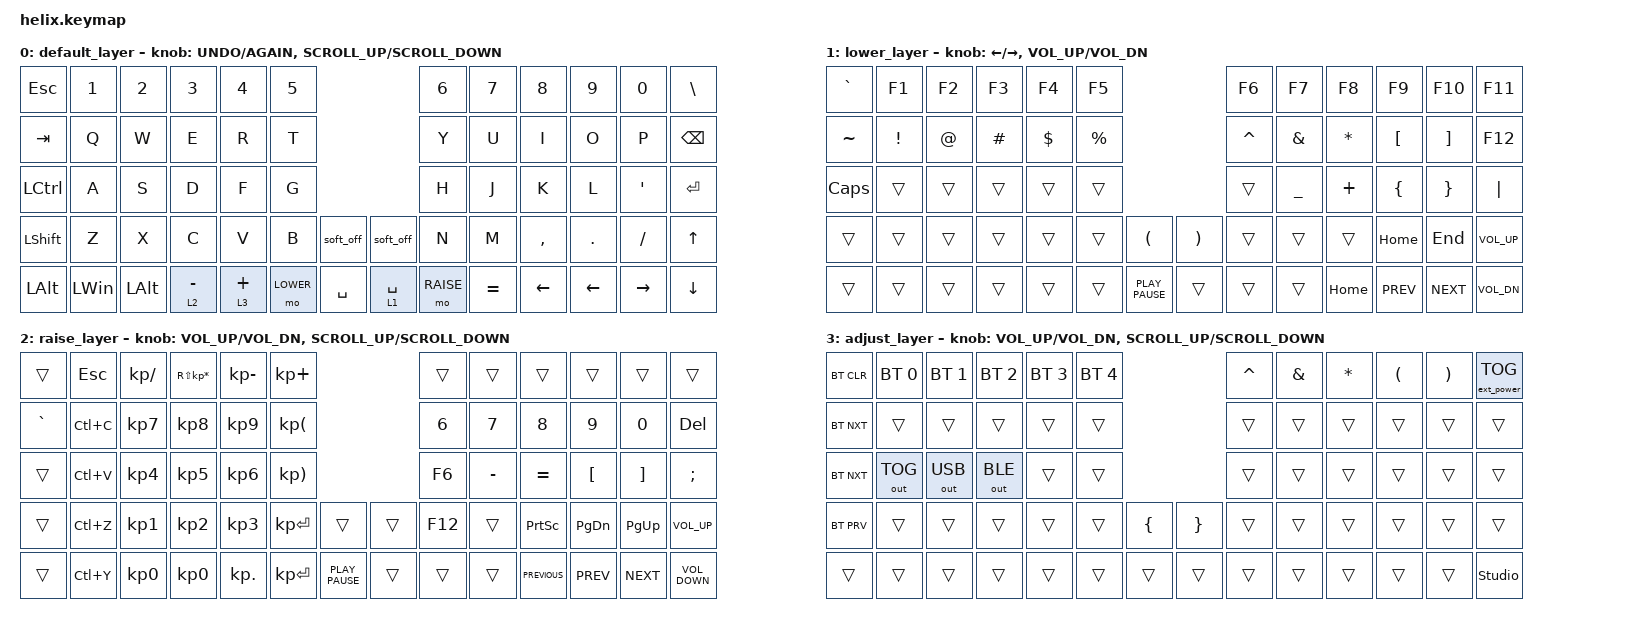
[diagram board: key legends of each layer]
/*
 * Copyright (c) 2020 The ZMK Contributors
 *
 * SPDX-License-Identifier: MIT
 */

#include <behaviors.dtsi>
#include <dt-bindings/zmk/bt.h>
#include <dt-bindings/zmk/ext_power.h>
#include <dt-bindings/zmk/keys.h>
#include <dt-bindings/zmk/outputs.h>
#include <dt-bindings/zmk/pointing.h>

#define DEFAULT 0
#define LOWER  1
#define RAISE  2
#define ADJUST 3

/{
    keymap {
        compatible = "zmk,keymap";

        default_layer {
            // ---------------------------------------------------------------------------------------------------------------------------------
            // | GRAVE  |   1    |   2    |   3    |   4    |   5    |                                      |   6    |   7    |   8    |   9    |   0    |  DEL   |
            // |  TAB   |   Q    |   W    |   E    |   R    |   T    |                                      |   Y    |   U    |   I    |   O    |   P    |  BSPC  |
            // |  CTRL  |   A    |   S    |   D    |   F    |   G    |                                      |   H    |   J    |   K    |   L    |   ;    |   '    |
            // |  SHIFT |   Z    |   X    |   C    |   V    |   B    |  LBKT  |                    |  RBKT  |   N    |   M    |   ,    |   .    |   /    |  RET   |
            // | ADJUST |  ESC   |  ALT   |  LGUI  | EISUU  | LOWER  | SPACE  |                    |  SPACE | RAISE  |  KANA  |  LEFT  |  DOWN  |  UP    |  RIGHT |

            bindings = <
&kp ESCAPE    &kp N1        &kp N2    &kp N3       &kp N4      &kp N5                               &kp N6     &kp N7     &kp N8     &kp N9      &kp N0     &kp BACKSLASH
&kp TAB       &kp Q         &kp W     &kp E        &kp R       &kp T                                &kp Y      &kp U      &kp I      &kp O       &kp P      &kp BSPC
&kp LCTRL     &kp A         &kp S     &kp D        &kp F       &kp G                                &kp H      &kp J      &kp K      &kp L       &kp SQT    &kp ENTER
&kp LSHFT     &kp Z         &kp X     &kp C        &kp V       &kp B      &soft_off    &soft_off    &kp N      &kp M      &kp COMMA  &kp PERIOD  &kp SLASH  &kp UP_ARROW
&kp LEFT_ALT  &kp LEFT_WIN  &kp LALT  &lt 2 MINUS  &lt 3 PLUS  &mo LOWER  &kp SPACE    &lt 1 SPACE  &mo RAISE  &kp EQUAL  &kp LEFT   &kp LEFT    &kp RIGHT  &kp DOWN
            >;
            sensor-bindings = <&inc_dec_kp K_UNDO K_AGAIN &inc_dec_kp K_SCROLL_UP K_SCROLL_DOWN>;
        };
        lower_layer {
            // ---------------------------------------------------------------------------------------------------------------------------------
            // |      |      |      |      |      |      |                                  |      |      |      |      |      |      |
            // |  ~   |  !   |  @   |  #   |  $   |  %   |                                  |  ^   |  &   |  *   |  (   |  )   |      |
            // |      |      |      |      |      |      |                                  |      |  _   |  +   |  {   |  }   | PIPE |
            // |      |      |      |      |      |      |  (   |                    |  )   |      |      |      | HOME | END  |      |
            // |      |      |      |      |      |      |      |                    |      |      |      |      |      |      |      |

            bindings = <
&kp GRAVE     &kp F1    &kp F2  &kp F3    &kp F4    &kp F5                                   &kp F6     &kp F7     &kp F8     &kp F9            &kp F10            &kp F11
&kp TILDE     &kp EXCL  &kp AT  &kp HASH  &kp DLLR  &kp PRCNT                                &kp CARET  &kp AMPS   &kp ASTRK  &kp LEFT_BRACKET  &kp RIGHT_BRACKET  &kp F12
&kp CAPSLOCK  &trans    &trans  &trans    &trans    &trans                                   &trans     &kp UNDER  &kp PLUS   &kp LBRC          &kp RBRC           &kp PIPE
&trans        &trans    &trans  &trans    &trans    &trans     &kp LPAR            &kp RPAR  &trans     &trans     &trans     &kp HOME          &kp END            &kp C_VOLUME_UP
&trans        &trans    &trans  &trans    &trans    &trans     &kp K_PLAY_PAUSE    &trans    &trans     &trans     &kp HOME   &kp C_PREV        &kp C_NEXT         &kp C_VOL_DN
            >;
            sensor-bindings = <&inc_dec_kp LEFT RIGHT &inc_dec_kp C_VOL_UP C_VOL_DN>;
        };

        raise_layer {
            // ---------------------------------------------------------------------------------------------------------------------------------
            // |       |       |       |       |       |       |                                    |       |       |       |       |       |       |
            // |   `   |   1   |   2   |   3   |   4   |   5   |                                    |   6   |   7   |   8   |   9   |   0   |  DEL  |
            // |       |  F1   |  F2   |  F3   |  F4   |  F5   |                                    |  F6   |   -   |   =   |   [   |   ]   |   \   |
            // |       |  F7   |  F8   |  F9   |  F10  |  F11  |       |                    |       |  F12  |       | PSCRN | PG_DN | PG_UP |       |
            // |       |       |       |       |       |       |       |                    |       |       |       | NEXT  | VOL-  | VOL+  | PLAY  |

            bindings = <
&trans     &kp ESC    &kp KP_SLASH     &kp RS(KP_MULTIPLY)  &kp KP_MINUS     &kp KP_PLUS                                           &trans   &trans     &trans          &trans      &trans      &trans
&kp GRAVE  &kp LC(C)  &kp KP_NUMBER_7  &kp KP_NUMBER_8      &kp KP_NUMBER_9  &kp KP_LEFT_PARENTHESIS                               &kp N6   &kp N7     &kp N8          &kp N9      &kp N0      &kp DEL
&trans     &kp LC(V)  &kp KP_NUMBER_4  &kp KP_NUMBER_5      &kp KP_NUMBER_6  &kp KP_RIGHT_PARENTHESIS                              &kp F6   &kp MINUS  &kp EQUAL       &kp LBKT    &kp RBKT    &kp SEMICOLON
&trans     &kp LC(Z)  &kp KP_NUMBER_1  &kp KP_NUMBER_2      &kp KP_NUMBER_3  &kp KP_ENTER              &trans              &trans  &kp F12  &trans     &kp PSCRN       &kp PG_DN   &kp PG_UP   &kp C_VOLUME_UP
&trans     &kp LC(Y)  &kp KP_NUMBER_0  &kp KP_NUMBER_0      &kp KP_DOT       &kp KP_ENTER              &kp K_PLAY_PAUSE    &trans  &trans   &trans     &kp K_PREVIOUS  &kp K_PREV  &kp K_NEXT  &kp C_VOLUME_DOWN
            >;
            sensor-bindings = <&inc_dec_kp C_VOL_UP C_VOL_DN &inc_dec_kp K_SCROLL_UP K_SCROLL_DOWN>;
        };

        adjust_layer {
            // ---------------------------------------------------------------------------------------------------------------------------------
            // |    `     |    !     |    @     |    #     |    $     |    %     |                                          |    ^     |    &     |    *     |    (     |    )     |  EP TOG  |
            // |  BT CLR  | BT SEL0  | BT SEL1  | BT SEL2  | BGT SEL3 | BT SEL4  |                                          | RGB EFF+ | RGB HUE+ | RGB SAT+ | RGB SPD+ | RGB BRI+ | RGB TOG  |
            // |  BT NXT  | OUT TOG  | OUT USB  | OUT BLE  |          |          |                                          | RGB EFF- | RGB HUE- | RGB SAT- | RGB SPD- | RGB BRI- |          |
            // |  BT PRV  |          |          |          |          |          |    {     |                    |    }     |          |          |          |          |          |          |
            // |          |          |          |          |          |          |          |                    |          |          |          |          |          |          |          |

            bindings = <
&bt BT_CLR  &bt BT_SEL 0  &bt BT_SEL 1  &bt BT_SEL 2  &bt BT_SEL 3  &bt BT_SEL 4                        &kp CARET  &kp AMPS  &kp ASTRK  &kp LPAR  &kp RPAR  &ext_power EP_TOG
&bt BT_NXT  &trans        &trans        &trans        &trans        &trans                              &trans     &trans    &trans     &trans    &trans    &trans
&bt BT_NXT  &out OUT_TOG  &out OUT_USB  &out OUT_BLE  &trans        &trans                              &trans     &trans    &trans     &trans    &trans    &trans
&bt BT_PRV  &trans        &trans        &trans        &trans        &trans        &kp LBRC    &kp RBRC  &trans     &trans    &trans     &trans    &trans    &trans
&trans      &trans        &trans        &trans        &trans        &trans        &trans      &trans    &trans     &trans    &trans     &trans    &trans    &studio_unlock
            >;
            sensor-bindings = <&inc_dec_kp C_VOL_UP C_VOL_DN &inc_dec_kp K_SCROLL_UP K_SCROLL_DOWN>;
        };
    };
};
